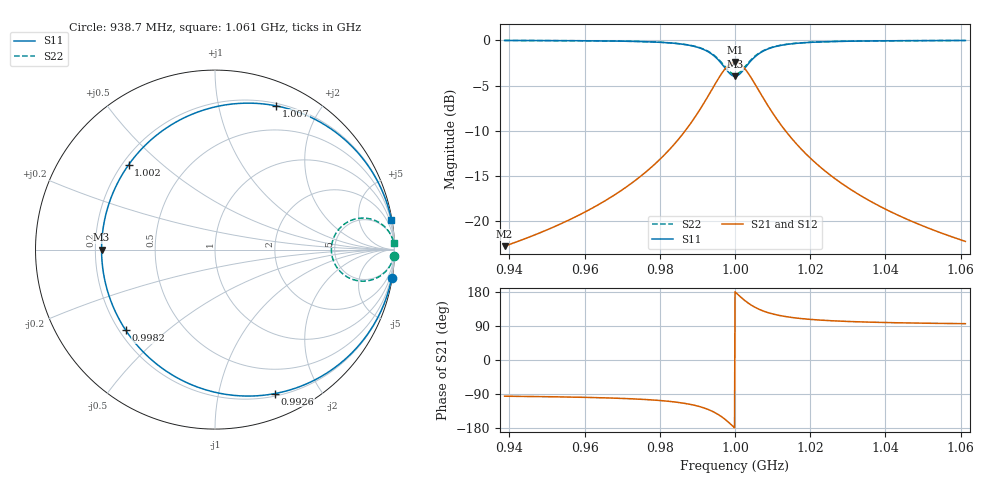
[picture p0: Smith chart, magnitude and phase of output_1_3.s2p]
! File generated for n1 = 1, n2 = 3
! b1 = 100.000000
! b2 = 21.544347
! Q0 = 10000.000000
! f0 = 1000000000.000000
! n = 1001
! rel_span = 10.000000
# Hz S RI R 50
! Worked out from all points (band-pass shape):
!   1001 points, 938.7 MHz to 1.061 GHz, reference 50 ohm
!   highest |S21| = -2.41 dB at 1 GHz (marker M1); lowest = -22.7 dB at 938.7 MHz (marker M2)
!   |S21| within 3 dB of the highest: 993.9 MHz to 1.006 GHz (12.23 MHz wide, 1.22 % of centre)
!   lowest |S11| = -4.0 dB at 1 GHz (marker M3), VSWR 4.44, Z = 11.3 + j0 ohm
!   |S11| at or under -10 dB: nowhere
!   |S22| runs from -3.8 to 0.0 dB; largest |S21 - S12| = 0
!   S11 on the Smith chart (normalised r, x): 938.7 MHz: 0, -13; 992.6 MHz: 0.23, -1.48; 998.2 MHz: 0.23, -0.37; 1.002 GHz: 0.23, +0.39; 1.007 GHz: 0.23, +1.49; 1.061 GHz: 0, +12
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9.387278e8  0.9848 -0.1566  -0.00704 -0.0727  -0.00704 -0.0727  0.9967 -0.0337
9.591927e8  0.9655 -0.2349  -0.016 -0.109  -0.016 -0.109  0.9926 -0.0506
9.708344e8  0.933 -0.3239  -0.0311 -0.1504  -0.0311 -0.1504  0.9856 -0.0698
9.796576e8  0.8668 -0.4468  -0.0618 -0.2074  -0.0618 -0.2074  0.9713 -0.0963
9.875005e8  0.687 -0.6425  -0.1453 -0.2982  -0.1453 -0.2982  0.9326 -0.1384
9.90319e8  0.5365 -0.736  -0.2152 -0.3416  -0.2152 -0.3416  0.9001 -0.1586
9.926473e8  0.334 -0.8021  -0.3091 -0.3723  -0.3091 -0.3723  0.8565 -0.1728
9.957109e8  -0.0938 -0.7673  -0.5077 -0.3562  -0.5077 -0.3562  0.7643 -0.1653
9.969364e8  -0.3048 -0.6534  -0.6057 -0.3033  -0.6057 -0.3033  0.7189 -0.1408
9.981618e8  -0.4971 -0.4495  -0.6949 -0.2087  -0.6949 -0.2087  0.6775 -0.0968
1e9  -0.6321 0  -0.7575 0  -0.7575 0  0.6484 0
1.00098e9  -0.5914 0.2545  -0.7386 0.1181  -0.7386 0.1181  0.6572 0.0548
1.001961e9  -0.4807 0.4734  -0.6873 0.2197  -0.6873 0.2197  0.681 0.102
1.003064e9  -0.3064 0.6522  -0.6064 0.3027  -0.6064 0.3027  0.7185 0.1405
1.004289e9  -0.0969 0.7662  -0.5091 0.3556  -0.5091 0.3556  0.7637 0.1651
1.005637e9  0.1138 0.813  -0.4113 0.3774  -0.4113 0.3774  0.8091 0.1752
1.007475e9  0.3412 0.8007  -0.3058 0.3717  -0.3058 0.3717  0.8581 0.1725
1.009804e9  0.5383 0.7351  -0.2143 0.3412  -0.2143 0.3412  0.9005 0.1584
1.012622e9  0.6856 0.6436  -0.1459 0.2988  -0.1459 0.2988  0.9323 0.1387
1.020465e9  0.8632 0.4522  -0.0635 0.2099  -0.0635 0.2099  0.9705 0.0974
1.04093e9  0.9628 0.2435  -0.0173 0.113  -0.0173 0.113  0.992 0.0525
1.061272e9  0.9829 0.1663  -0.00795 0.0772  -0.00795 0.0772  0.9963 0.0358
